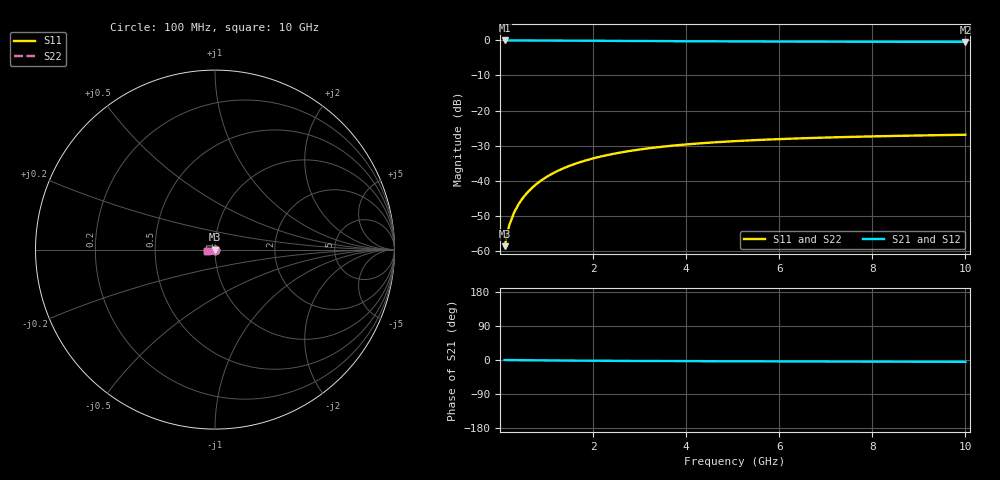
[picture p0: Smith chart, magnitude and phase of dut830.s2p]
! Touchstone file exported from HFSS 2024.1.0
!  File:  C:/UserFiles/LocalFiles/RDL_TSV_Batchsim/temp_TSV1_830_1779879182.aedt
!  Generated:  06:58:41 PM May 27, 2026
!  Design:  TSV1
!  Project:  temp_TSV1_830_1779879182
!  Setup:  Setup1
!  Solution:  Sweep
! Variables:
!  dtsv = 9.64um
!  hbump = 3um
!  htsv = 75.63um
!  lrdl = 252.1521522um
!  p = 40
!  p1 = 42.58um
!  t = 500um
!  trdl = 3um
!  wrdl = 24.89489489um
# GHz S MA R 50.000000
! Terminal data exported
! Port[1] = TSV22_T1
! Port[2] = TSV22_T2
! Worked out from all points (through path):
!   100 points, 100 MHz to 10 GHz, reference 50 ohm
!   highest |S21| = 0.00 dB at 100 MHz (marker M1); lowest = -0.4 dB at 10 GHz (marker M2)
!   lowest |S11| = -58.7 dB at 100 MHz (marker M3), VSWR 1.00, Z = 50 - j0.115 ohm
!   |S11| at or under -10 dB: start of sweep to end of sweep
!   |S22| runs from -58.7 to -26.9 dB; largest |S21 - S12| = 6.9e-15
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0.1  0.001159 -84.0  0.9998 -0.1  0.9998 -0.1  0.001159 -84.0
! Gamma 0 0 0 0
! Port Impedance 50 0 50 0
0.2  0.002307 -89.1  0.9997 -0.2  0.9997 -0.2  0.002307 -89.1
0.3  0.003459 -91.9  0.9995 -0.3  0.9995 -0.3  0.003459 -91.9
0.4  0.004608 -94.1  0.9993 -0.4  0.9993 -0.4  0.004608 -94.1
0.5  0.00575 -96.0  0.999 -0.6  0.999 -0.6  0.00575 -96.0
0.6  0.006882 -97.9  0.9986 -0.7  0.9986 -0.7  0.006882 -97.9
0.7  0.008 -99.6  0.9982 -0.8  0.9982 -0.8  0.008 -99.6
0.8  0.009104 -101.3  0.9978 -0.9  0.9978 -0.9  0.009104 -101.3
0.9  0.01019 -102.9  0.9973 -1.0  0.9973 -1.0  0.01019 -102.9
1.1  0.01231 -106.1  0.9961 -1.2  0.9961 -1.2  0.01231 -106.1
1.4  0.01533 -110.6  0.9942 -1.4  0.9942 -1.4  0.01533 -110.6
1.6  0.01722 -113.5  0.9927 -1.6  0.9927 -1.6  0.01722 -113.5
1.8  0.01902 -116.2  0.9912 -1.8  0.9912 -1.8  0.01902 -116.2
2.1  0.02153 -120.1  0.9888 -2.0  0.9888 -2.0  0.02153 -120.1
2.5  0.02453 -125.0  0.9856 -2.3  0.9856 -2.3  0.02453 -125.0
2.9  0.02716 -129.4  0.9824 -2.5  0.9824 -2.5  0.02716 -129.4
3.4  0.02999 -134.4  0.9787 -2.7  0.9787 -2.7  0.02999 -134.4
4.2  0.03362 -141.3  0.9734 -3.1  0.9734 -3.1  0.03362 -141.3
5.1  0.03672 -147.8  0.9685 -3.4  0.9685 -3.4  0.03672 -147.8
6.7  0.04057 -157.1  0.962 -3.9  0.962 -3.9  0.04057 -157.1
8.4  0.04328 -164.8  0.9573 -4.4  0.9573 -4.4  0.04328 -164.8
10  0.04511 -170.8  0.9542 -4.8  0.9542 -4.8  0.04511 -170.8
